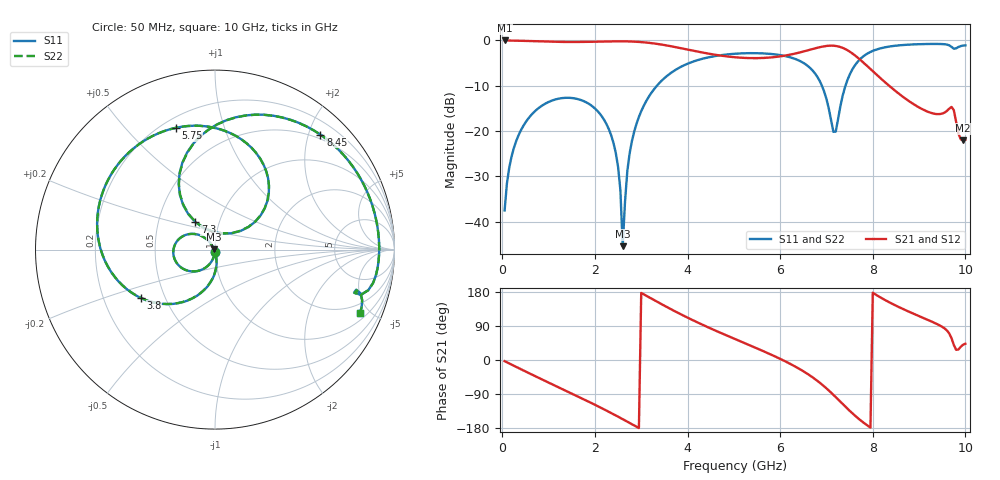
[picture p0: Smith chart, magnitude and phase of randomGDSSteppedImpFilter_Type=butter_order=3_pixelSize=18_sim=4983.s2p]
! freq	dB(S11)	phase(S11)	dB(S12)	phase(S12)
!  dB(S21)	phase(S21)	dB(S22)	phase(S22)
!S-par simulation data
#  GHz  S  DB  R 50
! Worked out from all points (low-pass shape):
!   200 points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, 50 MHz to 10 GHz, reference 50 ohm
!   highest |S21| = -0.01 dB at 50 MHz (marker M1); lowest = -22.0 dB at 9.95 GHz (marker M2)
!   |S21| within 3 dB of the highest: start of sweep to 4.505 GHz; 6.277 GHz to 7.577 GHz (1.3 GHz wide, 18.8 % of centre)
!   lowest |S11| = -45.4 dB at 2.6 GHz (marker M3), VSWR 1.01, Z = 49.5 + j0.0866 ohm
!   |S11| at or under -10 dB: start of sweep to 3.339 GHz; 6.903 GHz to 7.41 GHz (507.9 MHz wide, 7.1 % of centre)
!   |S22| runs from -44.3 to -0.8 dB; largest |S21 - S12| = 0
!   S11 on the Smith chart (normalised r, x): 50 MHz: 1.00, -0.03; 3.8 GHz: 0.37, -0.26; 5.75 GHz: 0.25, +0.70; 7.3 GHz: 0.77, +0.24; 8.45 GHz: 0.42, +2.21; 10 GHz: 1.38, -4.38
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0.05  -37.50 -92.2  -0.01 -3.1  -0.01 -3.1  -37.50 -92.2
0.2  -25.60 -102.3  -0.03 -12.2  -0.03 -12.2  -25.60 -102.3
0.55  -17.38 -123.7  -0.13 -33.2  -0.13 -33.2  -17.38 -123.6
1.75  -13.35 166.5  -0.33 -103.2  -0.33 -103.2  -13.35 166.6
2.4  -22.57 128.7  -0.20 -143.1  -0.20 -143.1  -22.57 129.3
2.55  -32.99 125.8  -0.19 -152.8  -0.19 -152.8  -32.92 127.9
2.6  -45.37 170.7  -0.20 -156.1  -0.20 -156.1  -44.28 174.7
2.7  -28.77 -79.8  -0.21 -162.7  -0.21 -162.7  -28.75 -81.2
2.8  -22.16 -83.2  -0.25 -169.4  -0.25 -169.4  -22.15 -83.9
3.4  -9.31 -121.4  -0.85 149.9  -0.85 149.9  -9.31 -121.6
3.8  -6.14 -146.9  -1.59 124.0  -1.59 124.0  -6.14 -147.0
5.05  -2.92 144.1  -3.74 54.0  -3.74 54.0  -2.92 144.0
5.75  -2.94 107.9  -3.79 17.2  -3.79 17.2  -2.94 107.9
6.7  -6.63 49.8  -1.90 -45.7  -1.90 -45.7  -6.63 49.9
7.15  -20.16 64.7  -1.17 -91.9  -1.17 -91.9  -20.05 64.9
7.3  -14.53 125.5  -1.46 -110.0  -1.46 -110.0  -14.49 125.0
7.65  -5.01 106.1  -3.59 -150.4  -3.59 -150.4  -5.00 105.9
8.35  -1.36 53.5  -9.97 152.7  -9.97 152.7  -1.36 53.4
8.45  -1.22 47.5  -10.82 146.4  -10.82 146.4  -1.22 47.4
9.7  -1.41 -17.3  -14.66 57.7  -14.66 57.7  -1.39 -17.2
9.95  -1.14 -21.2  -22.05 40.3  -22.05 40.3  -1.14 -21.4
10  -1.09 -23.6  -21.89 42.9  -21.89 42.9  -1.08 -23.8
